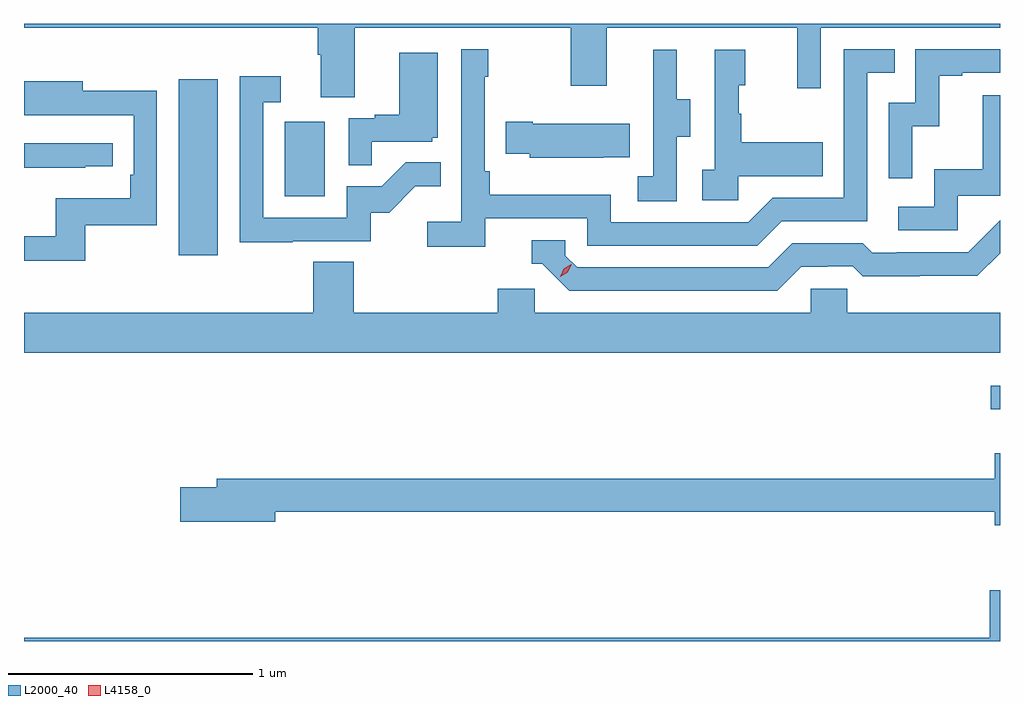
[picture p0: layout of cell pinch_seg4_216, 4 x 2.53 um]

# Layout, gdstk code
import gdstk
lib = gdstk.Library(unit=1e-6, precision=1e-09)
def R(c, l, rs):  # rectangles x0, y0, x1, y1
    for r in rs: c.add(gdstk.rectangle(r[:2], r[2:], *l))
def P(c, l, *ps):  # polygons
    for p in ps: c.add(gdstk.Polygon(p, *l))
L2000_40 = (2000, 40)
L4158_0 = (4158, 0)

pinch_seg4_216 = lib.new_cell('pinch_seg4_216')
R(pinch_seg4_216, L2000_40, [(1000.713,831.219,1000.751,831.316), (997.385,831.852,997.546,832.573), (997.82,832.092,997.984,832.399)])
P(pinch_seg4_216, L2000_40, [(996.751,832.784),(997.955,832.784),(997.955,832.672),(997.967,832.672),(997.967,832.498),(998.107,832.498),(998.107,832.784),(998.992,832.784),(998.992,832.545),(999.139,832.545),(999.139,832.784),(999.92,832.784),(999.92,832.536),(1000.017,832.536),(1000.017,832.784),(1000.751,832.784),(1000.751,832.799),(996.751,832.799)],
  [(998.642,832.002),(999.06,832.002),(999.06,831.891),(999.757,831.891),(999.856,831.99),(1000.206,831.99),(1000.206,832.599),(1000.319,832.599),(1000.319,832.695),(1000.11,832.695),(1000.11,832.086),(999.819,832.086),(999.72,831.987),(999.156,831.987),(999.156,832.099),(998.66,832.099),(998.66,832.195),(998.64,832.195),(998.64,832.583),(998.653,832.583),(998.653,832.696),(998.544,832.696),(998.544,831.988),(998.403,831.988),(998.403,831.886),(998.642,831.886)],
  [(1000.392,832.379),(1000.502,832.379),(1000.502,832.587),(1000.597,832.587),(1000.597,832.599),(1000.751,832.599),(1000.751,832.695),(1000.404,832.695),(1000.404,832.476),(1000.296,832.476),(1000.296,832.167),(1000.392,832.167)],
  [(999.426,832.336),(999.481,832.336),(999.481,832.491),(999.427,832.491),(999.427,832.693),(999.329,832.693),(999.329,832.479),(999.33,832.479),(999.33,832.175),(999.267,832.175),(999.267,832.072),(999.426,832.072)],
  [(999.678,832.175),(1000.025,832.175),(1000.025,832.315),(999.691,832.315),(999.691,832.43),(999.681,832.43),(999.681,832.548),(999.706,832.548),(999.706,832.693),(999.582,832.693),(999.582,832.202),(999.531,832.202),(999.531,832.077),(999.678,832.077)],
  [(998.177,832.317),(998.424,832.317),(998.424,832.332),(998.446,832.332),(998.446,832.681),(998.288,832.681),(998.288,832.426),(998.189,832.426),(998.189,832.413),(998.082,832.413),(998.082,832.219),(998.177,832.219)],
  [(997.853,831.909),(998.172,831.909),(998.172,832.026),(998.248,832.026),(998.355,832.133),(998.459,832.133),(998.459,832.232),(998.315,832.232),(998.217,832.134),(998.073,832.134),(998.073,832.005),(997.731,832.005),(997.731,832.479),(997.804,832.479),(997.804,832.585),(997.635,832.585),(997.635,831.904),(997.853,831.904)],
  [(997.003,831.975),(997.296,831.975),(997.296,832.526),(996.991,832.526),(996.991,832.564),(996.751,832.564),(996.751,832.424),(996.887,832.424),(996.887,832.425),(997.2,832.425),(997.2,832.18),(997.187,832.18),(997.187,832.084),(996.882,832.084),(996.882,831.929),(996.751,831.929),(996.751,831.828),(997.003,831.828)],
  [(1000.578,832.095),(1000.751,832.095),(1000.751,832.507),(1000.681,832.507),(1000.681,832.204),(1000.482,832.204),(1000.482,832.05),(1000.335,832.05),(1000.335,831.954),(1000.578,831.954)],
  [(999.125,832.253),(999.233,832.253),(999.233,832.39),(998.836,832.39),(998.836,832.398),(998.725,832.398),(998.725,832.268),(998.823,832.268),(998.823,832.25),(999.125,832.25)],
  [(997.001,832.215),(997.114,832.215),(997.114,832.311),(996.751,832.311),(996.751,832.21),(997.001,832.21)],
  [(999.937,831.804),(1000.044,831.804),(1000.044,831.807),(1000.147,831.807),(1000.189,831.765),(1000.422,831.765),(1000.422,831.767),(1000.658,831.767),(1000.751,831.86),(1000.751,831.995),(1000.62,831.864),(1000.327,831.864),(1000.327,831.861),(1000.228,831.861),(1000.189,831.9),(999.9,831.9),(999.801,831.801),(999.018,831.801),(998.97,831.849),(998.97,831.912),(998.831,831.912),(998.831,831.816),(998.874,831.816),(998.985,831.705),(999.838,831.705)],
  [(1000.751,831.616),(1000.125,831.616),(1000.125,831.714),(999.975,831.714),(999.975,831.616),(998.844,831.616),(998.844,831.714),(998.693,831.714),(998.693,831.616),(998.102,831.616),(998.102,831.824),(997.937,831.824),(997.937,831.616),(996.751,831.616),(996.751,831.452),(1000.751,831.452)],
  [(1000.751,831.04),(1000.73,831.04),(1000.73,830.936),(997.541,830.936),(997.541,830.9),(997.392,830.9),(997.392,830.758),(997.78,830.758),(997.78,830.8),(1000.73,830.8),(1000.73,830.744),(1000.751,830.744)],
  [(1000.751,830.479),(1000.709,830.479),(1000.709,830.284),(996.751,830.284),(996.751,830.27),(1000.751,830.27)])
P(pinch_seg4_216, L4158_0, [(998.948,831.762),(998.948,831.762),(998.964,831.795),(998.994,831.814),(998.995,831.814),(998.995,831.814),(998.979,831.781),(998.948,831.762)])

lib.write_gds('pinch_seg4_216.gds')
